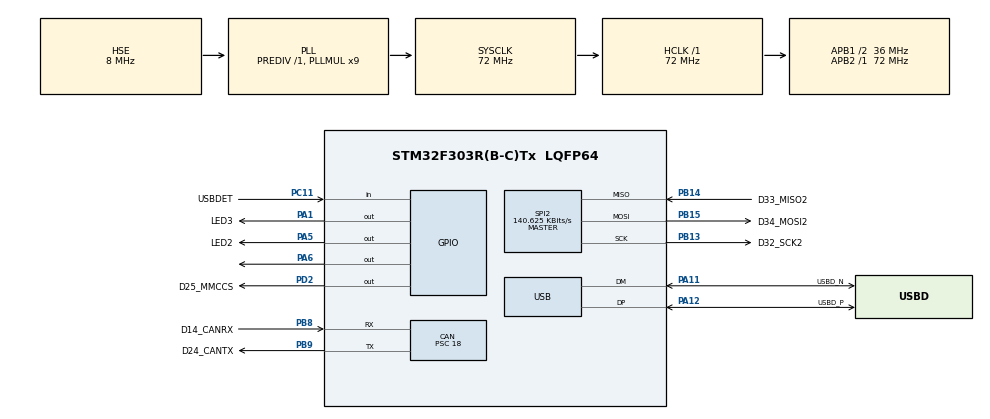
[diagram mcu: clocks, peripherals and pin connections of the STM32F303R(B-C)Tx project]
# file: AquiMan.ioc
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CAN.BS1=CAN_BS1_13TQ
CAN.BS2=CAN_BS2_2TQ
CAN.CalculateBaudRate=125000
CAN.CalculateTimeBit=8000
CAN.CalculateTimeQuantum=500.0
CAN.Mode=CAN_MODE_LOOPBACK
CAN.Prescaler=18
Mcu.Family=STM32F3
Mcu.Name=STM32F303R(B-C)Tx
Mcu.Package=LQFP64
NVIC.CAN_RX1_IRQn=true\:0\:0\:false\:false\:true\:true\:true\:true
NVIC.PriorityGroup=NVIC_PRIORITYGROUP_4
NVIC.TIM1_UP_TIM16_IRQn=true\:15\:0\:false\:false\:true\:false\:true\:true
NVIC.TimeBase=TIM1_UP_TIM16_IRQn
NVIC.TimeBaseIP=TIM1
NVIC.USB_LP_CAN_RX0_IRQn=true\:0\:0\:false\:false\:true\:true\:true\:true
PA1.GPIO_Label=LED3
PA1.Signal=GPIO_Output
PA11.GPIO_Label=USBD_N
PA11.Mode=Device
PA11.Signal=USB_DM
PA12.GPIO_Label=USBD_P
PA12.Mode=Device
PA12.Signal=USB_DP
PA13.GPIO_Label=TMS_SWDIO
PA13.Mode=Serial_Wire
PA13.Signal=SYS_JTMS-SWDIO
PA14.GPIO_Label=TCK_SWCLK
PA14.Mode=Serial_Wire
PA14.Signal=SYS_JTCK-SWCLK
PA5.GPIO_Label=LED2
PA5.Signal=GPIO_Output
PA6.Signal=GPIO_Output
PB10.GPIO_Label=D29_USART3TX
PB10.Signal=USART3_TX
PB11.GPIO_Label=D30_USART3RX
PB11.Signal=USART3_RX
PB13.GPIO_Label=D32_SCK2
PB13.Mode=Full_Duplex_Master
PB13.Signal=SPI2_SCK
PB14.GPIO_Label=D33_MISO2
PB14.Mode=Full_Duplex_Master
PB14.Signal=SPI2_MISO
PB15.GPIO_Label=D34_MOSI2
PB15.Mode=Full_Duplex_Master
PB15.Signal=SPI2_MOSI
PB3.GPIO_Label=TDO_SWO
PB3.Signal=SYS_JTDO-TRACESWO
PB8.GPIO_Label=D14_CANRX
PB8.GPIO_PuPd=GPIO_PULLUP
PB8.GPIO_Speed=GPIO_SPEED_FREQ_MEDIUM
PB8.Mode=CAN_Activate
PB8.Signal=CAN_RX
PB8.Stacked=true
PB9.GPIO_Label=D24_CANTX
PB9.GPIO_Speed=GPIO_SPEED_FREQ_MEDIUM
PB9.Mode=CAN_Activate
PB9.Signal=CAN_TX
PC11.GPIO_Label=USBDET
PC11.Signal=GPIO_Input
PC14-OSC32_IN.Mode=LSE-External-Oscillator
PC14-OSC32_IN.Signal=RCC_OSC32_IN
PC15-OSC32_OUT.Mode=LSE-External-Oscillator
PC15-OSC32_OUT.Signal=RCC_OSC32_OUT
PD2.GPIO_Label=D25_MMCCS 
PD2.Signal=GPIO_Output
PF0-OSC_IN.Mode=HSE-External-Oscillator
PF0-OSC_IN.Signal=RCC_OSC_IN
PF1-OSC_OUT.Mode=HSE-External-Oscillator
PF1-OSC_OUT.Signal=RCC_OSC_OUT
ProjectManager.HeapSize=0x200
ProjectManager.StackSize=0x400
ProjectManager.TargetToolchain=CMake
RCC.AHBFreq_Value=72000000
RCC.APB1CLKDivider=RCC_HCLK_DIV2
RCC.APB1Freq_Value=36000000
RCC.APB1TimFreq_Value=72000000
RCC.APB2Freq_Value=72000000
RCC.APB2TimFreq_Value=72000000
RCC.CortexFreq_Value=72000000
RCC.EnbaleCSS=true
RCC.HCLKFreq_Value=72000000
RCC.HSE_VALUE=8000000
RCC.HSI_VALUE=8000000
RCC.PLLMUL=RCC_PLL_MUL9
RCC.PRESCALERUSB=RCC_USBCLKSOURCE_PLL_DIV1_5
RCC.RTCClockSelection=RCC_RTCCLKSOURCE_LSE
RCC.SYSCLKFreq_VALUE=72000000
RCC.SYSCLKSourceVirtual=RCC_SYSCLKSOURCE_PLLCLK
RCC.USBFreq_Value=48000000
SPI2.BaudRatePrescaler=SPI_BAUDRATEPRESCALER_256
SPI2.CalculateBaudRate=140.625 KBits/s
SPI2.DataSize=SPI_DATASIZE_8BIT
SPI2.Direction=SPI_DIRECTION_2LINES
SPI2.Mode=SPI_MODE_MASTER
SPI2.VirtualType=VM_MASTER
VP_FATFS_VS_Generic.Mode=User_defined
VP_RTC_VS_RTC_Activate.Mode=RTC_Enabled
VP_SYS_VS_tim1.Mode=TIM1
board=custom

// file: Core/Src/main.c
/* USER CODE BEGIN Header */
/**
  ******************************************************************************
  * @file           : main.c
  * @brief          : Main program body
  ******************************************************************************
  * @attention
  *
  * Copyright (c) 2026 STMicroelectronics.
  * All rights reserved.
  *
  * This software is licensed under terms that can be found in the LICENSE file
  * in the root directory of this software component.
  * If no LICENSE file comes with this software, it is provided AS-IS.
  *
  ******************************************************************************
  */
/* USER CODE END Header */
#include "main.h"
#include "fatfs.h"

/* USER CODE BEGIN Includes */
#include "FreeRTOS.h"
#include "task.h"
#include "can_init.h"
#include "can_send_test.h"
/* USER CODE END Includes */

CAN_HandleTypeDef hcan;

RTC_HandleTypeDef hrtc;

SPI_HandleTypeDef hspi2;

PCD_HandleTypeDef hpcd_USB_FS;

void SystemClock_Config(void);
static void MX_GPIO_Init(void);
static void MX_CAN_Init(void);
static void MX_RTC_Init(void);
static void MX_USB_PCD_Init(void);
static void MX_SPI2_Init(void);

/* USER CODE BEGIN 0 */
static StaticTask_t idle_task_buffer;
static StackType_t idle_task_stack[configMINIMAL_STACK_SIZE];

void vApplicationGetIdleTaskMemory( StaticTask_t **ppxIdleTaskTCBBuffer,
                                    StackType_t **ppxIdleTaskStackBuffer,
                                    uint32_t *pulIdleTaskStackSize )
{
    *ppxIdleTaskTCBBuffer = &idle_task_buffer;
    *ppxIdleTaskStackBuffer = idle_task_stack;
    *pulIdleTaskStackSize = configMINIMAL_STACK_SIZE;
}

#if (configUSE_TIMERS == 1)
static StaticTask_t xTimerTaskTCB;
static StackType_t uxTimerTaskStack[configTIMER_TASK_STACK_DEPTH];

void vApplicationGetTimerTaskMemory( StaticTask_t **ppxTimerTaskTCBBuffer,
                                     StackType_t **ppxTimerTaskStackBuffer,
                                     uint32_t *pulTimerTaskStackSize )
{
    *ppxTimerTaskTCBBuffer = &xTimerTaskTCB;
    *ppxTimerTaskStackBuffer = uxTimerTaskStack;
    *pulTimerTaskStackSize = configTIMER_TASK_STACK_DEPTH;
}

#endif
/* USER CODE END 0 */

int main(void)
{

  /* MCU Configuration--------------------------------------------------------*/

  /* Reset of all peripherals, Initializes the Flash interface and the Systick. */
  HAL_Init();

  /* Configure the system clock */
  SystemClock_Config();

  /* Initialize all configured peripherals */
  MX_GPIO_Init();
  MX_CAN_Init();
  MX_RTC_Init();
  MX_USB_PCD_Init();
  MX_SPI2_Init();
  MX_FATFS_Init();
  /* USER CODE BEGIN 2 */
  CanAppInit(&hcan);
  InitCANTestTask();
  /* USER CODE END 2 */

  /* Infinite loop */
  /* USER CODE BEGIN WHILE */
  while (1)
  {
    vTaskStartScheduler();
    /* USER CODE END WHILE */

  }
}

void SystemClock_Config(void)
{
  RCC_OscInitTypeDef RCC_OscInitStruct = {0};
  RCC_ClkInitTypeDef RCC_ClkInitStruct = {0};
  RCC_PeriphCLKInitTypeDef PeriphClkInit = {0};

  /** Configure LSE Drive Capability
  */
  HAL_PWR_EnableBkUpAccess();
  __HAL_RCC_LSEDRIVE_CONFIG(RCC_LSEDRIVE_LOW);

  /** Initializes the RCC Oscillators according to the specified parameters
  * in the RCC_OscInitTypeDef structure.
  */
  RCC_OscInitStruct.OscillatorType = RCC_OSCILLATORTYPE_HSE|RCC_OSCILLATORTYPE_LSE;
  RCC_OscInitStruct.HSEState = RCC_HSE_ON;
  RCC_OscInitStruct.HSEPredivValue = RCC_HSE_PREDIV_DIV1;
  RCC_OscInitStruct.LSEState = RCC_LSE_ON;
  RCC_OscInitStruct.HSIState = RCC_HSI_ON;
  RCC_OscInitStruct.PLL.PLLState = RCC_PLL_ON;
  RCC_OscInitStruct.PLL.PLLSource = RCC_PLLSOURCE_HSE;
  RCC_OscInitStruct.PLL.PLLMUL = RCC_PLL_MUL9;
  if (HAL_RCC_OscConfig(&RCC_OscInitStruct) != HAL_OK)
  {
    Error_Handler();
  }

  /** Initializes the CPU, AHB and APB buses clocks
  */
  RCC_ClkInitStruct.ClockType = RCC_CLOCKTYPE_HCLK|RCC_CLOCKTYPE_SYSCLK
                              |RCC_CLOCKTYPE_PCLK1|RCC_CLOCKTYPE_PCLK2;
  RCC_ClkInitStruct.SYSCLKSource = RCC_SYSCLKSOURCE_PLLCLK;
  RCC_ClkInitStruct.AHBCLKDivider = RCC_SYSCLK_DIV1;
  RCC_ClkInitStruct.APB1CLKDivider = RCC_HCLK_DIV2;
  RCC_ClkInitStruct.APB2CLKDivider = RCC_HCLK_DIV1;

  if (HAL_RCC_ClockConfig(&RCC_ClkInitStruct, FLASH_LATENCY_2) != HAL_OK)
  {
    Error_Handler();
  }
  PeriphClkInit.PeriphClockSelection = RCC_PERIPHCLK_USB|RCC_PERIPHCLK_RTC;
  PeriphClkInit.RTCClockSelection = RCC_RTCCLKSOURCE_LSE;
  PeriphClkInit.USBClockSelection = RCC_USBCLKSOURCE_PLL_DIV1_5;
  if (HAL_RCCEx_PeriphCLKConfig(&PeriphClkInit) != HAL_OK)
  {
    Error_Handler();
  }

  /** Enables the Clock Security System
  */
  HAL_RCC_EnableCSS();
}

static void MX_CAN_Init(void)
{

  hcan.Instance = CAN;
  hcan.Init.Prescaler = 18;
  hcan.Init.Mode = CAN_MODE_LOOPBACK;
  hcan.Init.SyncJumpWidth = CAN_SJW_1TQ;
  hcan.Init.TimeSeg1 = CAN_BS1_13TQ;
  hcan.Init.TimeSeg2 = CAN_BS2_2TQ;
  hcan.Init.TimeTriggeredMode = DISABLE;
  hcan.Init.AutoBusOff = DISABLE;
  hcan.Init.AutoWakeUp = DISABLE;
  hcan.Init.AutoRetransmission = DISABLE;
  hcan.Init.ReceiveFifoLocked = DISABLE;
  hcan.Init.TransmitFifoPriority = DISABLE;
  if (HAL_CAN_Init(&hcan) != HAL_OK)
  {
    Error_Handler();
  }

}

static void MX_RTC_Init(void)
{

  /** Initialize RTC Only
  */
  hrtc.Instance = RTC;
  hrtc.Init.HourFormat = RTC_HOURFORMAT_24;
  hrtc.Init.AsynchPrediv = 127;
  hrtc.Init.SynchPrediv = 255;
  hrtc.Init.OutPut = RTC_OUTPUT_DISABLE;
  hrtc.Init.OutPutPolarity = RTC_OUTPUT_POLARITY_HIGH;
  hrtc.Init.OutPutType = RTC_OUTPUT_TYPE_OPENDRAIN;
  if (HAL_RTC_Init(&hrtc) != HAL_OK)
  {
    Error_Handler();
  }

}

static void MX_SPI2_Init(void)
{

  /* SPI2 parameter configuration*/
  hspi2.Instance = SPI2;
  hspi2.Init.Mode = SPI_MODE_MASTER;
  hspi2.Init.Direction = SPI_DIRECTION_2LINES;
  hspi2.Init.DataSize = SPI_DATASIZE_8BIT;
  hspi2.Init.CLKPolarity = SPI_POLARITY_LOW;
  hspi2.Init.CLKPhase = SPI_PHASE_1EDGE;
  hspi2.Init.NSS = SPI_NSS_SOFT;
  hspi2.Init.BaudRatePrescaler = SPI_BAUDRATEPRESCALER_256;
  hspi2.Init.FirstBit = SPI_FIRSTBIT_MSB;
  hspi2.Init.TIMode = SPI_TIMODE_DISABLE;
  hspi2.Init.CRCCalculation = SPI_CRCCALCULATION_DISABLE;
  hspi2.Init.CRCPolynomial = 7;
  hspi2.Init.CRCLength = SPI_CRC_LENGTH_DATASIZE;
  hspi2.Init.NSSPMode = SPI_NSS_PULSE_ENABLE;
  if (HAL_SPI_Init(&hspi2) != HAL_OK)
  {
    Error_Handler();
  }

}

static void MX_USB_PCD_Init(void)
{

  hpcd_USB_FS.Instance = USB;
  hpcd_USB_FS.Init.dev_endpoints = 8;
  hpcd_USB_FS.Init.speed = PCD_SPEED_FULL;
  hpcd_USB_FS.Init.phy_itface = PCD_PHY_EMBEDDED;
  hpcd_USB_FS.Init.low_power_enable = DISABLE;
  hpcd_USB_FS.Init.battery_charging_enable = DISABLE;
  if (HAL_PCD_Init(&hpcd_USB_FS) != HAL_OK)
  {
    Error_Handler();
  }

}

static void MX_GPIO_Init(void)
{
  GPIO_InitTypeDef GPIO_InitStruct = {0};

  /* GPIO Ports Clock Enable */
  __HAL_RCC_GPIOC_CLK_ENABLE();
  __HAL_RCC_GPIOF_CLK_ENABLE();
  __HAL_RCC_GPIOA_CLK_ENABLE();
  __HAL_RCC_GPIOB_CLK_ENABLE();
  __HAL_RCC_GPIOD_CLK_ENABLE();

  /*Configure GPIO pin Output Level */
  HAL_GPIO_WritePin(GPIOA, LED3_Pin|LED2_Pin|GPIO_PIN_6, GPIO_PIN_RESET);

  /*Configure GPIO pin Output Level */
  HAL_GPIO_WritePin(D25_MMCCS_GPIO_Port, D25_MMCCS_Pin, GPIO_PIN_RESET);

  /*Configure GPIO pins : LED3_Pin LED2_Pin PA6 */
  GPIO_InitStruct.Pin = LED3_Pin|LED2_Pin|GPIO_PIN_6;
  GPIO_InitStruct.Mode = GPIO_MODE_OUTPUT_PP;
  GPIO_InitStruct.Pull = GPIO_NOPULL;
  GPIO_InitStruct.Speed = GPIO_SPEED_FREQ_LOW;
  HAL_GPIO_Init(GPIOA, &GPIO_InitStruct);

  /*Configure GPIO pins : D29_USART3TX_Pin D30_USART3RX_Pin */
  GPIO_InitStruct.Pin = D29_USART3TX_Pin|D30_USART3RX_Pin;
  GPIO_InitStruct.Mode = GPIO_MODE_AF_PP;
  GPIO_InitStruct.Pull = GPIO_NOPULL;
  GPIO_InitStruct.Speed = GPIO_SPEED_FREQ_HIGH;
  GPIO_InitStruct.Alternate = GPIO_AF7_USART3;
  HAL_GPIO_Init(GPIOB, &GPIO_InitStruct);

  /*Configure GPIO pin : USBDET_Pin */
  GPIO_InitStruct.Pin = USBDET_Pin;
  GPIO_InitStruct.Mode = GPIO_MODE_INPUT;
  GPIO_InitStruct.Pull = GPIO_NOPULL;
  HAL_GPIO_Init(USBDET_GPIO_Port, &GPIO_InitStruct);

  /*Configure GPIO pin : D25_MMCCS_Pin */
  GPIO_InitStruct.Pin = D25_MMCCS_Pin;
  GPIO_InitStruct.Mode = GPIO_MODE_OUTPUT_PP;
  GPIO_InitStruct.Pull = GPIO_NOPULL;
  GPIO_InitStruct.Speed = GPIO_SPEED_FREQ_LOW;
  HAL_GPIO_Init(D25_MMCCS_GPIO_Port, &GPIO_InitStruct);

}

void HAL_TIM_PeriodElapsedCallback(TIM_HandleTypeDef *htim)
{
  if (htim->Instance == TIM1)
  {
    HAL_IncTick();
  }
}

void Error_Handler(void)
{
  __disable_irq();
  while (1)
  {
  }
}
